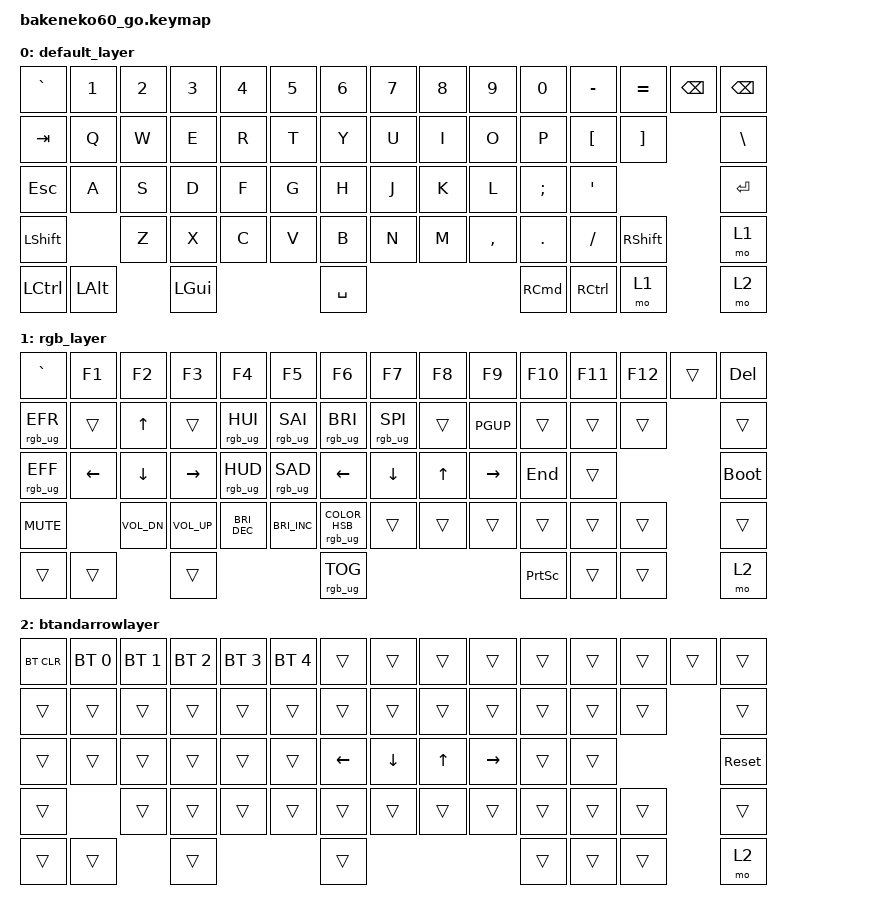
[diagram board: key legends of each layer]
/*
 * Copyright (c) 2023 Andrew Kannan
 *
 * SPDX-License-Identifier: MIT
 */

#include <behaviors.dtsi>
#include <dt-bindings/zmk/bt.h>
#include <dt-bindings/zmk/keys.h>
#include <dt-bindings/zmk/rgb.h>

/ {
    keymap {
        compatible = "zmk,keymap";

        default_layer {
            // ------------------------------------------------------------------------------------------
            // | ESC |  1  |  2  |  3  |  4  |  5  |  6  |  7  |  8  |  9  |  0  |  -  |  =  | BKSP|BKSP|
            // | TAB  |  Q  |  W  |  E  |  R  |  T  |  Y  |  U  |  I  |  O  |  P  |  [  |  ]  |   "|"   |
            // | CAPS  |  A  |  S  |  D  |  F  |  G  |  H  |  J  |  K  |  L  |  ;  |  '  |     ENTER    |
            // |  SHIFT  |  Z  |  X  |  C  |  V  |  B  |  N  |  M  |  ,  |  .  |  /  |  SHIFT  | MO(1)  |
            // |  CTL  |  WIN  |  ALT  |            SPACE              |  ALT  |  WIN  |  MO(1) |  CTL  |
            // ------------------------------------------------------------------------------------------

            bindings = <
&kp GRAVE   &kp N1        &kp N2  &kp N3        &kp N4  &kp N5  &kp N6     &kp N7  &kp N8  &kp N9     &kp N0             &kp MINUS          &kp EQUAL  &kp BSPC  &kp BSPC
&kp TAB     &kp Q         &kp W   &kp E         &kp R   &kp T   &kp Y      &kp U   &kp I   &kp O      &kp P              &kp LBKT           &kp RBKT             &kp BSLH
&kp ESCAPE  &kp A         &kp S   &kp D         &kp F   &kp G   &kp H      &kp J   &kp K   &kp L      &kp SEMI           &kp SQT                                 &kp RET
&kp LSHFT                 &kp Z   &kp X         &kp C   &kp V   &kp B      &kp N   &kp M   &kp COMMA  &kp DOT            &kp FSLH           &kp RSHFT            &mo 1
&kp LCTRL   &kp LEFT_ALT          &kp LEFT_GUI                  &kp SPACE                             &kp RIGHT_COMMAND  &kp RIGHT_CONTROL  &mo 1                &mo 2
            >;
        };

        rgb_layer {
            // ------------------------------------------------------------------------------------------------
            // |    `   | F1  | F2  | F3  | F4  | F5  | F6  | F7  | F8  | F9  | F10  | F11 | F12 |     | DEL  |
            // | EFCT REV|   |  UP |   | HUEUP | SATUP | BRIUP | SPDUP |      |  PGUP |    |     |    |       |
            // | EFCT FWD | LT |  DN  | RT | HUEDN | SATDN | BRIDN | SPDDN | HOME | PGDN | END  |  | BOOTLDR  |
            // |             |     |      |      |     |     |     |     |     |     |     |         |        |
            // |         |      |      |             TOG RGB                | PRT SCR |       |       |  MO(2)|
            // ------------------------------------------------------------------------------------------------
            //             bindings = <
            // &kp GRAVE        &kp F1    &kp F2    &kp F3     &kp F4           &kp F5           &kp F6           &kp F7           &kp F8    &kp F9    &kp F10    &kp F11  &kp F12  &trans  &kp DEL
            // &rgb_ug RGB_EFR  &trans    &kp UP    &trans     &rgb_ug RGB_HUI  &rgb_ug RGB_SAI  &rgb_ug RGB_BRI  &rgb_ug RGB_SPI  &trans    &kp PGUP  &trans     &trans   &trans           &trans
            // &rgb_ug RGB_EFF  &kp LEFT  &kp DOWN  &kp RIGHT  &rgb_ug RGB_HUD  &rgb_ug RGB_SAD  &rgb_ug RGB_BRD  &rgb_ug RGB_SPD  &kp HOME  &kp PGDN  &kp END    &trans                    &bootloader
            // &trans                     &trans    &trans     &trans           &trans           &trans           &trans           &trans    &trans    &trans     &trans   &trans           &trans
            // &trans           &trans              &trans                                       &rgb_ug RGB_TOG                                       &kp PSCRN  &trans   &trans           &mo 2
            //             >;

            bindings = <
&kp GRAVE        &kp F1    &kp F2        &kp F3        &kp F4                &kp F5                &kp F6                             &kp F7           &kp F8  &kp F9     &kp F10    &kp F11  &kp F12  &trans  &kp DEL
&rgb_ug RGB_EFR  &trans    &kp UP        &trans        &rgb_ug RGB_HUI       &rgb_ug RGB_SAI       &rgb_ug RGB_BRI                    &rgb_ug RGB_SPI  &trans  &kp PGUP   &trans     &trans   &trans           &trans
&rgb_ug RGB_EFF  &kp LEFT  &kp DOWN      &kp RIGHT     &rgb_ug RGB_HUD       &rgb_ug RGB_SAD       &kp LEFT                           &kp DOWN         &kp UP  &kp RIGHT  &kp END    &trans                    &bootloader
&kp C_MUTE                 &kp C_VOL_DN  &kp C_VOL_UP  &kp C_BRIGHTNESS_DEC  &kp C_BRIGHTNESS_INC  &rgb_ug RGB_COLOR_HSB(279,100,72)  &trans           &trans  &trans     &trans     &trans   &trans           &trans
&trans           &trans                  &trans                                                    &rgb_ug RGB_TOG                                                        &kp PSCRN  &trans   &trans           &mo 2
            >;
        };

        btandarrowlayer {
            // ------------------------------------------------------------------------------------------------
            // | BT CLR |     |     |     |     |     |     |     |     |     |     |    |    |       |       |
            // |  BT 1   |   |     |   |       |       |       |       |   |     |    |     |     |           |
            // |   BT 2   |    |      |    |       |       |       |       |      |      |      |  |   Reset  |
            // |    BT 3     |     |      |      |     |     |     |     |     |     |     |         |        |
            // |   BT 4  |      |      |                                    |         |       |       |       |
            // ------------------------------------------------------------------------------------------------

            bindings = <
&bt BT_CLR  &bt BT_SEL 0  &bt BT_SEL 1  &bt BT_SEL 2  &bt BT_SEL 3  &bt BT_SEL 4  &trans    &trans    &trans  &trans     &trans  &trans  &trans  &trans  &trans
&trans      &trans        &trans        &trans        &trans        &trans        &trans    &trans    &trans  &trans     &trans  &trans  &trans          &trans
&trans      &trans        &trans        &trans        &trans        &trans        &kp LEFT  &kp DOWN  &kp UP  &kp RIGHT  &trans  &trans                  &sys_reset
&trans                    &trans        &trans        &trans        &trans        &trans    &trans    &trans  &trans     &trans  &trans  &trans          &trans
&trans      &trans                      &trans                                    &trans                                 &trans  &trans  &trans          &mo 2
            >;
        };
    };

    combos {
        compatible = "zmk,combos";

        combo_bt {
            timeout-ms = <50>;
            key-positions = <61 62>;
            bindings = <&mo 2>;
        };
    };
};
